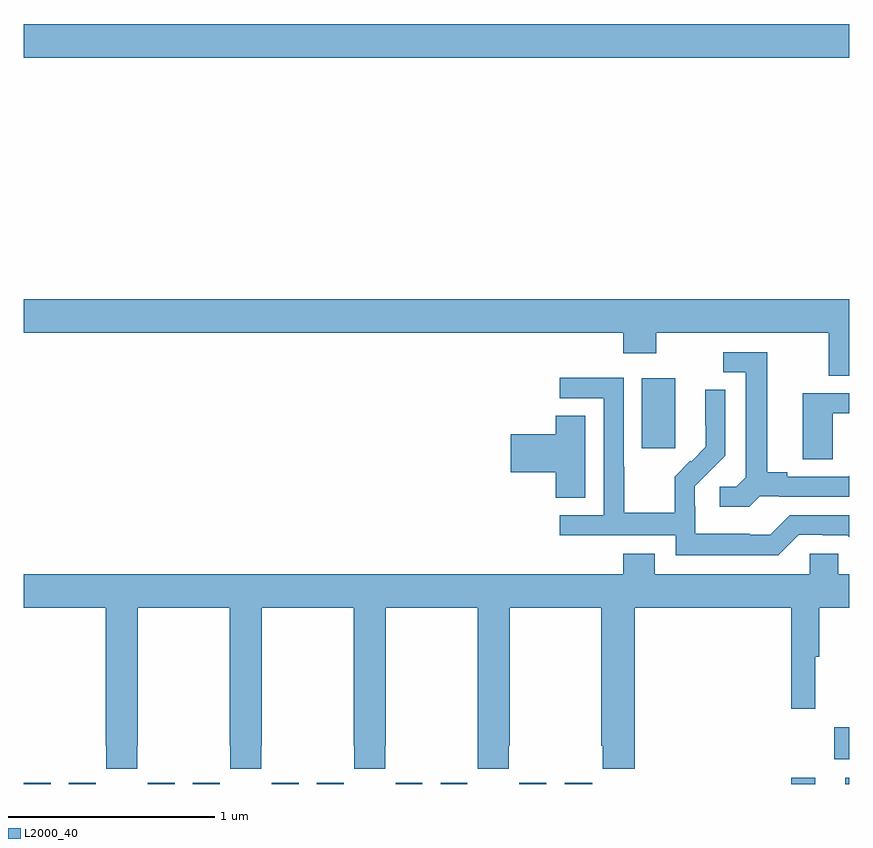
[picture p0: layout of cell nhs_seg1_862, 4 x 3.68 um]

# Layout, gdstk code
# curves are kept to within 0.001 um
import gdstk
lib = gdstk.Library(unit=1e-6, precision=1e-09)
def R(c, l, rs):  # rectangles x0, y0, x1, y1
    for r in rs: c.add(gdstk.rectangle(r[:2], r[2:], *l))
def P(c, l, *ps):  # polygons
    for p in ps: c.add(gdstk.Polygon(p, *l))
L2000_40 = (2000, 40)

nhs_seg1_862 = lib.new_cell('nhs_seg1_862')
R(nhs_seg1_862, L2000_40, [(157.002,564.199,157.132,564.205), (157.22,564.199,157.35,564.205), (157.602,564.199,157.732,564.205), (157.82,564.199,157.95,564.205), (158.202,564.199,158.332,564.205), (158.42,564.199,158.55,564.205), (158.802,564.199,158.932,564.205), (159.02,564.199,159.15,564.205), (159.402,564.199,159.532,564.205), (159.62,564.199,159.754,564.205), (160.717,564.199,160.834,564.229), (160.979,564.199,161,564.229), (160.926,564.32,161,564.473), (159.995,565.824,160.156,566.164), (157,567.716,161,567.88)])
P(nhs_seg1_862, L2000_40, [(161,566.548),(157,566.548),(157,566.384),(159.905,566.384),(159.905,566.285),(160.065,566.285),(160.065,566.384),(160.901,566.384),(160.901,566.176),(161,566.176)],
  [(160.566,565.593),(160.66,565.593),(160.66,565.59),(161,565.59),(161,565.692),(160.994,565.686),(160.699,565.686),(160.699,565.709),(160.603,565.709),(160.603,566.289),(160.389,566.289),(160.389,566.193),(160.499,566.193),(160.499,565.685),(160.452,565.638),(160.371,565.638),(160.371,565.541),(160.514,565.541)],
  [(160.755,565.407),(160.871,565.407),(160.871,565.404),(160.989,565.404),(161,565.393),(161,565.5),(160.71,565.5),(160.617,565.407),(160.517,565.407),(160.517,565.411),(160.254,565.411),(160.254,565.545),(160.252,565.545),(160.252,565.642),(160.398,565.79),(160.398,566.108),(160.301,566.108),(160.301,565.936),(160.304,565.936),(160.304,565.832),(160.233,565.761),(160.23,565.764),(160.153,565.687),(160.153,565.513),(159.909,565.513),(159.909,565.736),(159.906,565.736),(159.906,566.166),(159.597,566.166),(159.597,566.067),(159.81,566.067),(159.81,565.5),(159.597,565.5),(159.597,565.404),(160.158,565.404),(160.158,565.307),(160.655,565.307)],
  [(160.92,565.995),(161,565.995),(161,566.091),(160.775,566.091),(160.775,565.771),(160.92,565.771)],
  [(159.721,565.982),(159.578,565.982),(159.578,565.892),(159.36,565.892),(159.36,565.709),(159.578,565.709),(159.578,565.585),(159.721,565.585)],
  [(157.551,564.385),(157.554,564.385),(157.554,565.052),(157.999,565.052),(157.999,564.385),(158.001,564.385),(158.001,564.273),(158.151,564.273),(158.151,564.385),(158.154,564.385),(158.154,565.052),(158.599,565.052),(158.599,564.385),(158.601,564.385),(158.601,564.273),(158.751,564.273),(158.751,564.385),(158.754,564.385),(158.754,565.052),(159.199,565.052),(159.199,564.385),(159.201,564.385),(159.201,564.273),(159.351,564.273),(159.351,564.385),(159.354,564.385),(159.354,565.052),(159.799,565.052),(159.799,564.385),(159.805,564.385),(159.805,564.273),(159.959,564.273),(159.959,565.052),(160.717,565.052),(160.717,564.564),(160.835,564.564),(160.835,564.816),(160.853,564.816),(160.853,565.052),(161,565.052),(161,565.216),(160.947,565.216),(160.947,565.314),(160.809,565.314),(160.809,565.216),(160.057,565.216),(160.057,565.315),(159.905,565.315),(159.905,565.216),(157,565.216),(157,565.052),(157.399,565.052),(157.399,564.385),(157.401,564.385),(157.401,564.273),(157.551,564.273)])

lib.write_gds('nhs_seg1_862.gds')
